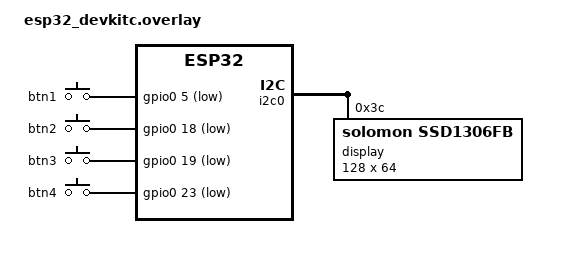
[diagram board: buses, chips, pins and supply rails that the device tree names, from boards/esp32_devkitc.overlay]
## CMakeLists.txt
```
# SPDX-License-Identifier: Apache-2.0

cmake_minimum_required(VERSION 3.20.0)

set(BOARD esp32_devkitc)
set(DTC_OVERLAY_FILE ${CMAKE_CURRENT_SOURCE_DIR}/boards/${BOARD}.overlay)

find_package(Zephyr REQUIRED HINTS $ENV{ZEPHYR_BASE})
project(t3)

FILE(GLOB app_sources src/*.c)
target_sources(app PRIVATE ${app_sources})
```

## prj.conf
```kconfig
# Habilita suporte ao console e logging
CONFIG_PRINTK=y
CONFIG_LOG=y
CONFIG_LOG_MODE_DEFERRED=y

# Habilita GPIO (botões e LEDs)
CONFIG_GPIO=y

# Habilita I2C
CONFIG_I2C=y

# Habilita driver SSD1306 com suporte ao Character Framebuffer (cfb)
CONFIG_DISPLAY=y
CONFIG_SSD1306=y
CONFIG_SSD1306_DEFAULT_CONTRAST=128
CONFIG_CHARACTER_FRAMEBUFFER=y

# Habilita threads
CONFIG_THREAD_NAME=y
```

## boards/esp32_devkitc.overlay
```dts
/ {
	aliases {
		btn1 = &btn1;
		btn2 = &btn2;
		btn3 = &btn3;
		btn4 = &btn4;
		display = &display;
	};
	buttons {
		compatible = "gpio-keys";
		btn1: btn1 {
			gpios = <&gpio0 5 GPIO_ACTIVE_LOW>;
		};
		btn2: btn2 {
			gpios = <&gpio0 18 GPIO_ACTIVE_LOW>;
		};
		btn3: btn3 {
			gpios = <&gpio0 19 GPIO_ACTIVE_LOW>;
		};
		btn4: btn4 {
			gpios = <&gpio0 23 GPIO_ACTIVE_LOW>;
		};
	};
};

&i2c0 {
	display: ssd1306@3c {
		compatible = "solomon,ssd1306fb";
		reg = <0x3c>;
		height = <64>;
		width = <128>;
		segment-offset = <0>;
		page-offset = <0>;
		display-offset = <0>;
		multiplex-ratio = <63>;
		prechargep = <0x22>;
		com-invdir;
		segment-remap;
	};
};
```

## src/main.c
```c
#include <stdio.h>
#include <zephyr/kernel.h>
#include <zephyr/device.h>
#include <zephyr/drivers/gpio.h>
#include <zephyr/display/cfb.h>
#include <zephyr/logging/log.h>

LOG_MODULE_REGISTER(main);

/*==============================================================================
 *                            CONFIGURAÇÕES
 *============================================================================*/
#define STACK_SIZE 1024
#define MOVE_TIME_MS 2000
#define MAX_PENDING_REQUESTS 5

// Prioridades das threads
#define BUTTON_PRIORITY 3
#define ELEVATOR_PRIORITY 4
#define DISPLAY_PRIORITY 5

/*==============================================================================
 *                            GPIO PERIFÉRICOS
 *============================================================================*/
// Definição dos botões
const struct gpio_dt_spec btn1 = GPIO_DT_SPEC_GET(DT_ALIAS(btn1), gpios);
const struct gpio_dt_spec btn2 = GPIO_DT_SPEC_GET(DT_ALIAS(btn2), gpios);
const struct gpio_dt_spec btn3 = GPIO_DT_SPEC_GET(DT_ALIAS(btn3), gpios);
const struct gpio_dt_spec btn4 = GPIO_DT_SPEC_GET(DT_ALIAS(btn4), gpios);

// Definição do display
const struct device *display = DEVICE_DT_GET(DT_ALIAS(display));

/*==============================================================================
 *                            SINCRONIZAÇÃO & FILAS
 *============================================================================*/
// Mutexes
K_MUTEX_DEFINE(display_mutex);
K_MUTEX_DEFINE(queue_mutex);

// Fila de mensagens entre botões e elevador
K_MSGQ_DEFINE(elevator_queue, sizeof(uint8_t), 10, 4);

// Fila de requisições pendentes
static uint8_t pending_requests[MAX_PENDING_REQUESTS];
static uint8_t pending_count;

/*==============================================================================
 *                            ESTADOS GLOBAIS
 *============================================================================*/
typedef enum
{
    ELEV_READY = 'R',
    ELEV_MOVING = 'M'
} elev_state_t;
static volatile uint8_t current_floor = 1;
static volatile uint8_t last_requested_floor = 0;
static volatile elev_state_t elevator_state = ELEV_READY;

/*==============================================================================
 *                            PROTÓTIPOS LOCAIS
 *============================================================================*/
static void button_thread(void *arg1, void *arg2, void *arg3);
static void elevator_thread(void *arg1, void *arg2, void *arg3);
static void display_thread(void *arg1, void *arg2, void *arg3);

/*==============================================================================
 *                            THREADS
 *============================================================================*/
// Lê debounced os quatro botões e enfileira chamadas
static void button_thread(void *arg1, void *arg2, void *arg3)
{
    const struct gpio_dt_spec *buttons[] = {&btn1, &btn2, &btn3, &btn4};
    bool last_state[4] = {0};
    uint8_t floor;

    // Estado inicial
    for (int i = 0; i < 4; i++)
    {
        last_state[i] = gpio_pin_get_dt(buttons[i]) == 0;
    }

    while (1)
    {
        for (int i = 0; i < 4; i++)
        {
            bool current_state = (gpio_pin_get_dt(buttons[i]) == 0);

            // Borda de descida: botão pressionado
            if (current_state && !last_state[i])
            {
                floor = i + 1;
                LOG_INF("Botão do andar %d pressionado", floor);
                k_msgq_put(&elevator_queue, &floor, K_NO_WAIT);

                // Adiciona à fila de requisições pendentes
                k_mutex_lock(&queue_mutex, K_FOREVER);
                if (pending_count < MAX_PENDING_REQUESTS)
                {
                    pending_requests[pending_count++] = floor;
                }
                k_mutex_unlock(&queue_mutex);
            }
            last_state[i] = current_state;
        }
        k_sleep(K_MSEC(50));
    }
}

// Processa a fila de elevador
static void elevator_thread(void *arg1, void *arg2, void *arg3)
{
    uint8_t target_floor;

    while (1)
    {
        // Bloqueia até receber uma requisição
        k_msgq_get(&elevator_queue, &target_floor, K_FOREVER);

        // Remove do pending_requests
        k_mutex_lock(&queue_mutex, K_FOREVER);
        for (int i = 0; i < pending_count; i++)
        {
            pending_requests[i] = pending_requests[i + 1];
        }
        if (pending_count)
        {
            pending_count--;
        }
        k_mutex_unlock(&queue_mutex);

        // Atualiza o estado
        last_requested_floor = target_floor;
        elevator_state = ELEV_MOVING;
        LOG_INF("Elevador indo para o andar %d", target_floor);

        // Move o elevador piso a piso
        while (current_floor != target_floor)
        {
            k_sleep(K_MSEC(MOVE_TIME_MS));
            if (current_floor < target_floor)
            {
                current_floor++;
            }
            else
            {
                current_floor--;
            }
            LOG_INF("Andar atual: %d", current_floor);
        }

        // Elevador chegou ao destino
        LOG_INF("Elevador chegou ao andar %d", current_floor);
        elevator_state = ELEV_READY;
        last_requested_floor = 0;
    }
}

// Exibe o estado do elevador no display
static void display_thread(void *arg1, void *arg2, void *arg3)
{
    char line1[32], line2[32], line3[32], line4[32];

    while (1)
    {
        snprintf(line1, sizeof(line1), "Andar: %d", current_floor);
        if (last_requested_floor > 0)
        {
            snprintf(line2, sizeof(line2), "Chamado: %d", last_requested_floor);
        }
        else
        {
            snprintf(line2, sizeof(line2), "Chamado: ");
        }
        snprintf(line3, sizeof(line3), "Estado: %c", (char)elevator_state);

        // Exibe a fila de requisições pendentes
        k_mutex_lock(&queue_mutex, K_MSEC(100));
        if (pending_count)
        {
            int pos = 0;
            for (int i = 0; i < pending_count; i++)
            {
                pos += snprintf(line4 + pos, sizeof(line4) - pos, "%d%s", pending_requests[i],
                                (i < pending_count - 1) ? "," : "");
            }
        }
        else
        {
            snprintf(line4, sizeof(line4), "Fila: Vazia");
        }
        k_mutex_unlock(&queue_mutex);

        if (k_mutex_lock(&display_mutex, K_MSEC(500)) == 0)
        {
            for (int y = 0; y <= 48; y += 16)
            {
                cfb_print(display, "                      ", 0, y);
            }
            cfb_print(display, line1, 0, 0);
            cfb_print(display, line2, 0, 16);
            cfb_print(display, line3, 0, 32);
            cfb_print(display, line4, 0, 48);
            cfb_framebuffer_finalize(display);
            k_mutex_unlock(&display_mutex);
        }
        k_sleep(K_MSEC(500));
    }
}

// Definição das stacks e threads
K_THREAD_STACK_DEFINE(button_stack, STACK_SIZE);
K_THREAD_STACK_DEFINE(elevator_stack, STACK_SIZE);
K_THREAD_STACK_DEFINE(display_stack, STACK_SIZE);
struct k_thread button_thread_data;
struct k_thread elevator_thread_data;
struct k_thread display_thread_data;

/*==============================================================================
 *                              FUNÇÃO MAIN
 *============================================================================*/
void main(void)
{
    int ret;

    // Inicializa o display
    if (!device_is_ready(display))
    {
        LOG_ERR("Display não está pronto");
        return;
    }
    ret = cfb_framebuffer_init(display);
    if (ret != 0)
    {
        LOG_ERR("Falha ao inicializar o display");
        return;
    }

    // Inicializa os botões
    const struct gpio_dt_spec *buttons[] = {&btn1, &btn2, &btn3, &btn4};
    for (int i = 0; i < 4; i++)
    {
        if (!gpio_is_ready_dt(buttons[i]))
        {
            LOG_ERR("Botão %d não está pronto", i + 1);
            return;
        }
        ret = gpio_pin_configure_dt(buttons[i], GPIO_INPUT | GPIO_PULL_UP);
        if (ret != 0)
        {
            LOG_ERR("Falha ao configurar o GPIO do botão %d", i + 1);
            return;
        }
    }

    // Cria as threads
    k_thread_create(&button_thread_data, button_stack, STACK_SIZE,
                    button_thread, NULL, NULL, NULL,
                    BUTTON_PRIORITY, 0, K_NO_WAIT);
    k_thread_create(&elevator_thread_data, elevator_stack, STACK_SIZE,
                    elevator_thread, NULL, NULL, NULL,
                    ELEVATOR_PRIORITY, 0, K_NO_WAIT);
    k_thread_create(&display_thread_data, display_stack, STACK_SIZE,
                    display_thread, NULL, NULL, NULL,
                    DISPLAY_PRIORITY, 0, K_NO_WAIT);

    LOG_INF("Sistema iniciado");
}
```

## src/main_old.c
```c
// #include <zephyr/device.h>
// #include <zephyr/kernel.h>
// #include <zephyr/display/cfb.h>
// #include <zephyr/logging/log.h>

// LOG_MODULE_REGISTER(display);

// static const struct device *display = DEVICE_DT_GET(DT_NODELABEL(ssd1306));

// void main(void)
// {
//     if (display == NULL)
//     {
//         LOG_ERR("Display pointer is NULL");
//         return;
//     }

//     if (!device_is_ready(display))
//     {
//         LOG_ERR("Display device is not ready");
//         return;
//     }

//     int ret;
//     ret = cfb_framebuffer_init(display);
//     if (ret != 0)
//     {
//         LOG_ERR("Failed to initialize display");
//         return;
//     }

//     ret = cfb_print(display, "Hello, World!", 0, 0);
//     if (ret != 0)
//     {
//         LOG_ERR("Failed to print to display");
//         return;
//     }

//     ret = cfb_framebuffer_finalize(display);
//     if (ret != 0)
//     {
//         LOG_ERR("Failed to finalize display");
//         return;
//     }
// }
```

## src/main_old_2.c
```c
// #include <stdio.h>
// #include <zephyr/kernel.h>
// #include <zephyr/drivers/gpio.h>

// // Sleep settings
// static const int32_t blink_sleep_ms = 300;
// static const int32_t print_sleep_ms = 1000;

// // Stack size settings
// #define BLINK_THREAD_STACK_SIZE 256

// // Define stack areas for the threads
// K_THREAD_STACK_DEFINE(blink_stack, BLINK_THREAD_STACK_SIZE);

// // Declare thread data structs
// static struct k_thread blink_thread;

// // Get LED struct from DeviceTree
// const struct gpio_dt_spec led = GPIO_DT_SPEC_GET(DT_ALIAS(my_led), gpios);

// // Blink thread entry point
// void blink_thread_start(void *arg1, void *arg2, void *arg3)
// {
//     int ret;
//     int state = 0;

//     while (1)
//     {
//         state = !state;
//         ret = gpio_pin_set_dt(&led, state);
//         if (ret < 0)
//         {
//             printk("Error: could not toggle pin\r\n");
//         }
//         k_msleep(blink_sleep_ms);
//     }
// }

// void main(void)
// {
//     int ret;
//     k_tid_t blink_tid;

//     // Initialize the LED GPIO pin
//     if (!gpio_is_ready_dt(&led))
//     {
//         printk("Error: GPIO pin %d is not ready\r\n", led.pin);
//         return;
//     }

//     // Set the GPIO pin as output
//     ret = gpio_pin_configure_dt(&led, GPIO_OUTPUT);
//     if (ret < 0)
//     {
//         printk("Error: could not configure pin %d\r\n", led.pin);
//         return;
//     }

//     // Start the blink thread
//     blink_tid = k_thread_create(&blink_thread,                      // Thread struct
//                                 blink_stack,                        // Stack area
//                                 K_THREAD_STACK_SIZEOF(blink_stack), // Stack size
//                                 blink_thread_start,                 // Entry point
//                                 NULL,                               // arg1
//                                 NULL,                               // arg2
//                                 NULL,                               // arg3
//                                 7,                                  // Priority
//                                 0,                                  // Options
//                                 K_NO_WAIT);                         // Delay

//     while (1)
//     {
//         printk("Blink thread started with ID: %p\r\n", blink_tid);
//         k_msleep(print_sleep_ms);
//     }
// }
```
